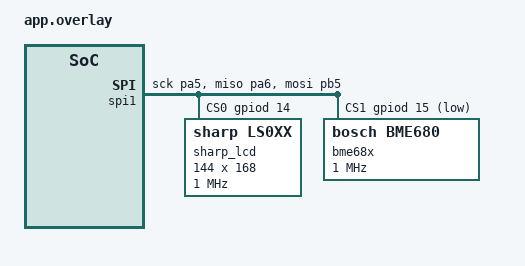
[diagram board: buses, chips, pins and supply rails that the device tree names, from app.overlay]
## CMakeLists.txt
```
cmake_minimum_required(VERSION 3.20.0)

# Network and debug settings shared with the other board, merged on top of prj.conf
list(APPEND EXTRA_CONF_FILE
  ${CMAKE_CURRENT_LIST_DIR}/../common/network.conf
  ${CMAKE_CURRENT_LIST_DIR}/../common/debug.conf)

find_package(Zephyr REQUIRED HINTS $ENV{ZEPHYR_BASE})
project(remote_spi_receiver)

# Open1722 is header-only (all functions are static inline), so only its include folder is needed
set(OPEN1722_DIR ${CMAKE_CURRENT_LIST_DIR}/../../../lib/open1722)
if(NOT EXISTS ${OPEN1722_DIR}/include/avtp/acf/Gbb.h)
  message(FATAL_ERROR "Open1722 not found in lib/open1722. Run: git submodule update --init")
endif()

target_sources(app PRIVATE src/main.c ../common/remote_spi.c)
target_include_directories(app PRIVATE ../common ${OPEN1722_DIR}/include)
```

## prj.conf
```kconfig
# Receiver: the air_quality example plus a remote SPI server
# (the shared network settings come from ../common/network.conf)

# This board's static IP (the sender is 192.168.1.10)
CONFIG_NET_CONFIG_MY_IPV4_ADDR="192.168.1.11"

# Same as examples/air_quality: display and sensor on SPI1, GPIO for the chip selects
CONFIG_GPIO=y
CONFIG_SPI=y
CONFIG_DISPLAY=y
CONFIG_SENSOR=y

# Character framebuffer with built-in fonts; its buffer is allocated from the heap
CONFIG_CHARACTER_FRAMEBUFFER=y
CONFIG_HEAP_MEM_POOL_SIZE=8192

# Allow %f in snprintf to print the sensor values
CONFIG_REQUIRES_FLOAT_PRINTF=y
```

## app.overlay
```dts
/*
 * Same wiring as examples/air_quality, except MOSI: PA7 (D11) is the Ethernet
 * RMII CRS_DV pin on this board, so with networking on MOSI moves to PB5
 *
 *   SCLK -> D13 (PA5)  -> display CLK, sensor SCL
 *   MOSI -> PB5        -> display DI,  sensor SDA   (moved from D11!)
 *   MISO -> D12 (PA6)  -> sensor SDO (the display has no MISO)
 *   CS   -> D10 (PD14) -> display CS
 *   CS   -> D9  (PD15) -> sensor CS
 */

/ {
	chosen {
		/* Use this display in main.c */
		zephyr,display = &sharp_lcd;
	};
};

&spi1 {
	status = "okay";
	/* SCK on PA5, MISO on PA6, MOSI on PB5 instead of the board default PA7 */
	pinctrl-0 = <&spi1_sck_pa5 &spi1_miso_pa6 &spi1_mosi_pb5>;
	/* One chip select per device: the display's is active-high, the sensor's active-low */
	cs-gpios = <&gpiod 14 GPIO_ACTIVE_HIGH>,
		   <&gpiod 15 GPIO_ACTIVE_LOW>;

	sharp_lcd: ls0xx@0 {
		compatible = "sharp,ls0xx";       /* Use the Sharp memory display driver */
		reg = <0>;                        /* First chip select of SPI1 */
		spi-max-frequency = <1000000>;    /* SPI speed: 1 MHz */
		spi-cs-setup-delay-ns = <3000>;   /* Wait 3 µs after CS before sending */
		spi-cs-hold-delay-ns = <1000>;    /* Wait 1 µs after sending before CS off */
		width = <144>;                    /* Screen width in pixels */
		height = <168>;                   /* Screen height in pixels */
		serial-vcom-inversion;            /* No EXTCOMIN wire: toggle VCOM over SPI */
	};

	bme68x: bme680@1 {
		compatible = "bosch,bme680";      /* Use the BME680 driver (also works for the BME688) */
		reg = <1>;                        /* Second chip select of SPI1 */
		spi-max-frequency = <1000000>;    /* SPI speed: 1 MHz */
	};
};
```

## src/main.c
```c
/*
 * Receiver (board B): runs the air_quality example in main() as before, and a
 * second thread, the remote SPI server. The server receives GBB Requests over
 * Ethernet, runs each one as a raw SPI transfer on SPI1 and sends back a GBB
 * Response. It does not know what the bytes mean: the sender decides that.
 */

#include <errno.h>
#include <zephyr/kernel.h>
#include <zephyr/device.h>
#include <zephyr/display/cfb.h>
#include <zephyr/drivers/sensor.h>
#include <zephyr/drivers/spi.h>
#include <zephyr/logging/log.h>
#include <zephyr/net/socket.h>
#include <stdio.h>

#include "remote_spi.h"

/* Log messages from this file appear as "receiver: ..."; the level is set in common/debug.conf */
LOG_MODULE_REGISTER(receiver, CONFIG_REMOTE_SPI_LOG_LEVEL);

/* Log the server stats after this many requests */
#define STATS_EVERY 20

/* ---------- Remote SPI server ---------- */

/* What the server needs to know about one SPI device (one Byte Bus) */
struct byte_bus {
	const char *name;	/* Only for the log */
	struct spi_dt_spec spi;	/* SPI bus, chip select and settings of the device */
	bool can_write;		/* Write Requests allowed? */
	bool can_read;		/* Read Requests allowed? */
};

/*
 * The Byte Bus table, indexed by Byte Bus ID. The chip select and speed come
 * from the same devicetree nodes the local drivers use, and the bit order and
 * SPI mode match those drivers, so remote transfers look the same on the wire.
 * ID 0 stays empty (spi.bus == NULL) and is answered with an error.
 */
static const struct byte_bus byte_buses[] = {
	[BYTE_BUS_SENSOR] = {
		.name = "BME68x",
		/* BME68x: MSB first, SPI mode 3, like Zephyr's bme680 driver */
		.spi = SPI_DT_SPEC_GET(DT_NODELABEL(bme68x), SPI_WORD_SET(8) | SPI_TRANSFER_MSB |
							     SPI_MODE_CPOL | SPI_MODE_CPHA),
		/*
		 * No writes: the local bme680 driver remembers which register page
		 * the sensor is on, and a remote write could switch it behind its back
		 */
		.can_write = false,
		.can_read = true,
	},
	[BYTE_BUS_DISPLAY] = {
		.name = "SHARP display",
		/* SHARP display: LSB first, CS active-high, like Zephyr's ls0xx driver */
		.spi = SPI_DT_SPEC_GET(DT_NODELABEL(sharp_lcd), SPI_WORD_SET(8) | SPI_TRANSFER_LSB |
								SPI_CS_ACTIVE_HIGH),
		.can_write = true,
		/* No reads: the display has no MISO wire */
		.can_read = false,
	},
};

/* Datagram buffers and the bytes read from a device, static to keep the thread stack small */
static uint8_t rx_frame[REMOTE_SPI_FRAME_SIZE];
static uint8_t tx_frame[REMOTE_SPI_FRAME_SIZE];
static uint8_t read_buf[REMOTE_SPI_MAX_PAYLOAD];

/* Logs the Byte Bus table once at start-up, to check the SPI settings against the wiring */
static void log_byte_buses(void)
{
	for (size_t id = 0; id < ARRAY_SIZE(byte_buses); id++) {
		const struct byte_bus *bus = &byte_buses[id];
		const struct spi_config *cfg = &bus->spi.config;

		/* Empty table slot (ID 0) */
		if (bus->spi.bus == NULL) {
			continue;
		}

		/* The SPI mode number (0 to 3) is made of the CPOL and CPHA bits */
		LOG_INF("bus %zu = %s: %s, CS %s pin %u (active %s), %u Hz, mode %d, %s first, "
			"write %s, read %s",
			id, bus->name, bus->spi.bus->name, cfg->cs.gpio.port->name,
			cfg->cs.gpio.pin, (cfg->cs.gpio.dt_flags & GPIO_ACTIVE_LOW) ? "low" : "high",
			cfg->frequency,
			((cfg->operation & SPI_MODE_CPOL) ? 2 : 0) +
				((cfg->operation & SPI_MODE_CPHA) ? 1 : 0),
			(cfg->operation & SPI_TRANSFER_LSB) ? "LSB" : "MSB",
			bus->can_write ? "yes" : "no", bus->can_read ? "yes" : "no");

		if (!spi_is_ready_dt(&bus->spi)) {
			LOG_ERR("bus %zu: SPI controller or CS GPIO not ready", id);
		}
	}
}

/*
 * Runs one GBB Request as one SPI transfer (one chip select assertion).
 * Returns the number of bytes read (0 for a write) or a negative errno.
 */
static int run_request(const Avtp_Gbb_t *req)
{
	uint16_t bus_id = Avtp_Gbb_GetByteBusId(req);
	bool write = Avtp_Gbb_IsOp(req);			/* op: 1 = write, 0 = read */
	void *payload = (void *)Avtp_Gbb_GetPayload(req);	/* Bytes to clock out */
	uint16_t len = Avtp_Gbb_GetPayloadLength(req);
	uint16_t read_size = Avtp_Gbb_GetReadSize(req);		/* Bytes to read afterwards */
	const struct byte_bus *bus;
	uint32_t start;
	int ret;

	/* Unknown Byte Bus ID */
	if (bus_id >= ARRAY_SIZE(byte_buses) || byte_buses[bus_id].spi.bus == NULL) {
		LOG_WRN("rejected: no Byte Bus %u", bus_id);
		return -ENODEV;
	}
	bus = &byte_buses[bus_id];

	if (write) {
		/* Write Request: clock the payload out, nothing to read */
		struct spi_buf tx_buf = {.buf = payload, .len = len};
		struct spi_buf_set tx = {.buffers = &tx_buf, .count = 1};

		if (!bus->can_write) {
			LOG_WRN("rejected: writes are not allowed on bus %u (%s)", bus_id, bus->name);
			return -EINVAL;
		}
		if (len == 0) {
			LOG_WRN("rejected: Write Request without payload");
			return -EINVAL;
		}

		/*
		 * The SPI driver lets only one transfer use SPI1 at a time, so this
		 * waits if the local display or sensor driver is busy right now
		 */
		start = k_cycle_get_32();
		ret = spi_write_dt(&bus->spi, &tx);
		LOG_DBG("bus %u: SPI write of %u B took %u us (incl. waiting for SPI1)", bus_id, len,
			k_cyc_to_us_floor32(k_cycle_get_32() - start));
		LOG_HEXDUMP_DBG(payload, MIN(len, REMOTE_SPI_LOG_DUMP_MAX), "SPI out (first bytes)");
		if (ret < 0) {
			LOG_ERR("bus %u: SPI write failed (%d)", bus_id, ret);
		}
		return ret < 0 ? ret : 0;
	}

	/*
	 * Read Request. A read_size with bit 11 set (KiB units) is larger than
	 * read_buf, so it is rejected here as well
	 */
	if (!bus->can_read) {
		LOG_WRN("rejected: reads are not possible on bus %u (%s)", bus_id, bus->name);
		return -EINVAL;
	}
	if (read_size == 0 || read_size > sizeof(read_buf)) {
		LOG_WRN("rejected: read_size %u (allowed 1 to %zu)", read_size, sizeof(read_buf));
		return -EINVAL;
	}

	/* Send: first the payload (e.g. register address), then zeros while reading */
	struct spi_buf tx_bufs[] = {
		{.buf = payload, .len = len},
		{.buf = NULL, .len = read_size},
	};
	/* Receive: ignore what comes in during the payload, keep the read_size bytes after it */
	struct spi_buf rx_bufs[] = {
		{.buf = NULL, .len = len},
		{.buf = read_buf, .len = read_size},
	};
	struct spi_buf_set tx = {.buffers = tx_bufs, .count = ARRAY_SIZE(tx_bufs)};
	struct spi_buf_set rx = {.buffers = rx_bufs, .count = ARRAY_SIZE(rx_bufs)};

	start = k_cycle_get_32();
	ret = spi_transceive_dt(&bus->spi, &tx, &rx);
	LOG_DBG("bus %u: SPI %u B out + %u B in took %u us (incl. waiting for SPI1)", bus_id, len,
		read_size, k_cyc_to_us_floor32(k_cycle_get_32() - start));
	if (ret < 0) {
		LOG_ERR("bus %u: SPI read failed (%d)", bus_id, ret);
		return ret;
	}
	LOG_HEXDUMP_DBG(payload, MIN(len, REMOTE_SPI_LOG_DUMP_MAX), "SPI out (first bytes)");
	LOG_HEXDUMP_DBG(read_buf, MIN(read_size, REMOTE_SPI_LOG_DUMP_MAX), "SPI in (first bytes)");
	return read_size;
}

static void remote_spi_server(void *p1, void *p2, void *p3)
{
	/* Listen on the AVTP port on any of this board's addresses */
	struct net_sockaddr_in local = {
		.sin_family = NET_AF_INET,
		.sin_port = net_htons(REMOTE_SPI_PORT),
	};
	uint32_t seq_num = 0;	/* Counts sent datagrams (Annex J / NTSCF) */
	uint32_t handled = 0;	/* Requests answered */
	uint32_t failed = 0;	/* ...of which with err = 1 */
	uint32_t dropped = 0;	/* Datagrams that were not GBB Requests */
	int sock;

	log_byte_buses();

	sock = zsock_socket(NET_AF_INET, NET_SOCK_DGRAM, NET_IPPROTO_UDP);
	if (sock < 0 || zsock_bind(sock, (struct net_sockaddr *)&local, sizeof(local)) < 0) {
		LOG_ERR("could not open UDP port %d (%d)", REMOTE_SPI_PORT, errno);
		return;
	}

	LOG_INF("remote SPI server listening on %s:%d", CONFIG_NET_CONFIG_MY_IPV4_ADDR,
		REMOTE_SPI_PORT);

	while (1) {
		struct net_sockaddr_in from;	/* Who sent the request: the answer goes back there */
		net_socklen_t from_len = sizeof(from);
		char from_ip[NET_INET_ADDRSTRLEN];
		const Avtp_Gbb_t *req;
		Avtp_Gbb_t *rsp;
		size_t frame_len;
		ssize_t n;
		int ret;

		/* Wait (forever) for the next datagram */
		n = zsock_recvfrom(sock, rx_frame, sizeof(rx_frame), 0, (struct net_sockaddr *)&from,
				   &from_len);
		if (n < 0) {
			LOG_ERR("recvfrom failed (%d)", errno);
			continue;
		}

		net_addr_ntop(NET_AF_INET, &from.sin_addr, from_ip, sizeof(from_ip));
		LOG_DBG("datagram from %s:%u, %d B", from_ip, net_ntohs(from.sin_port), (int)n);

		/* Unwrap Annex J + NTSCF; drop anything that is not a GBB Request */
		req = frame_parse(rx_frame, n);
		if (req == NULL) {
			/* frame_parse() already logged why */
			dropped++;
			continue;
		}
		frame_log_gbb("request in", req);
		if (Avtp_Gbb_IsRsp(req)) {
			LOG_WRN("dropped: a response from %s, not a request", from_ip);
			dropped++;
			continue;
		}

		/* Do the SPI transfer */
		ret = run_request(req);
		LOG_INF("request %u from %s: bus %u %s -> %s (%d)", Avtp_Gbb_GetTransactionNum(req),
			from_ip, Avtp_Gbb_GetByteBusId(req), Avtp_Gbb_IsOp(req) ? "write" : "read",
			ret < 0 ? "err" : "ok", ret);

		/*
		 * GBB Response: same bus, op and transaction number as the request,
		 * the bytes read as payload (none for a write or on error)
		 */
		rsp = frame_gbb(tx_frame);
		Avtp_Gbb_CreateAcfMessage(rsp, Avtp_Gbb_GetByteBusId(req), Avtp_Gbb_IsOp(req),
					  Avtp_Gbb_GetTransactionNum(req), read_buf,
					  ret > 0 ? ret : 0);
		Avtp_Gbb_SetRsp(rsp, true);	/* This is a response, not a request */
		Avtp_Gbb_SetErr(rsp, ret < 0);	/* Tell the sender whether it worked */
		frame_log_gbb("response out", rsp);

		/* Put the Annex J and NTSCF headers in front and send it back */
		frame_len = frame_finish(tx_frame, seq_num++);
		if (zsock_sendto(sock, tx_frame, frame_len, 0, (struct net_sockaddr *)&from,
				 from_len) < 0) {
			LOG_ERR("sending the response to %s failed (%d)", from_ip, errno);
		}

		handled++;
		failed += ret < 0 ? 1 : 0;
		if (handled % STATS_EVERY == 0) {
			LOG_INF("stats: %u requests answered, %u with err, %u datagrams dropped",
				handled, failed, dropped);
		}
	}
}

/* Start the server as its own thread at boot (3 KiB stack for logging, priority 7, below main) */
K_THREAD_DEFINE(remote_spi_tid, 3072, remote_spi_server, NULL, NULL, NULL, 7, 0, 0);

/* ---------- air_quality example, plus log messages ---------- */

int main(void)
{
	const struct device *display = DEVICE_DT_GET(DT_CHOSEN(zephyr_display));
	const struct device *sensor = DEVICE_DT_GET(DT_NODELABEL(bme68x));
	struct sensor_value temp, humidity, pressure, gas;
	char line[20];

	if (!device_is_ready(display)) {
		LOG_ERR("the display is not ready");
		return 0;
	}

	if (!device_is_ready(sensor)) {
		/* Usually wiring: the bme680 driver could not read the chip ID at boot */
		LOG_ERR("the sensor is not ready");
		return 0;
	}

	if (cfb_framebuffer_init(display) != 0) {
		LOG_ERR("could not prepare the drawing area");
		return 0;
	}

	cfb_framebuffer_set_font(display, 0);
	LOG_INF("air quality loop running, redraw every 2 s");

	while (1) {
		/* Take a new measurement, then read each value from it */
		if (sensor_sample_fetch(sensor) != 0) {
			LOG_ERR("could not read the sensor");
			k_sleep(K_SECONDS(2));
			continue;
		}

		sensor_channel_get(sensor, SENSOR_CHAN_AMBIENT_TEMP, &temp);
		sensor_channel_get(sensor, SENSOR_CHAN_HUMIDITY, &humidity);
		sensor_channel_get(sensor, SENSOR_CHAN_PRESS, &pressure);
		sensor_channel_get(sensor, SENSOR_CHAN_GAS_RES, &gas);

		cfb_framebuffer_clear(display, false);
		cfb_draw_text(display, "Air Quality", 17, 20);

		/* Each line goes to the screen and, as text, to the log */

		/* Temperature in degrees Celsius */
		snprintf(line, sizeof(line), "T: %.2f C", sensor_value_to_double(&temp));
		cfb_draw_text(display, line, 2, 52);
		LOG_INF("%s", line);

		/* Relative humidity in percent */
		snprintf(line, sizeof(line), "H: %.2f %%", sensor_value_to_double(&humidity));
		cfb_draw_text(display, line, 2, 76);
		LOG_INF("%s", line);

		/* Air pressure in kilopascals: about 101 kPa at sea level */
		snprintf(line, sizeof(line), "P: %.2f kPa", sensor_value_to_double(&pressure));
		cfb_draw_text(display, line, 2, 100);
		LOG_INF("%s", line);

		/* Gas resistance in ohms: higher means cleaner air */
		snprintf(line, sizeof(line), "G: %d Ohm", gas.val1);
		cfb_draw_text(display, line, 2, 124);
		LOG_INF("%s", line);

		/* Redraws the whole screen, so it also wipes the sender's bar until it paints it again */
		if (cfb_framebuffer_finalize(display) != 0) {
			LOG_ERR("could not update the screen");
		}
		LOG_DBG("screen redrawn (sender's bar wiped)");

		/* Update the screen every 2 seconds */
		k_sleep(K_SECONDS(2));
	}

	return 0;
}
```
